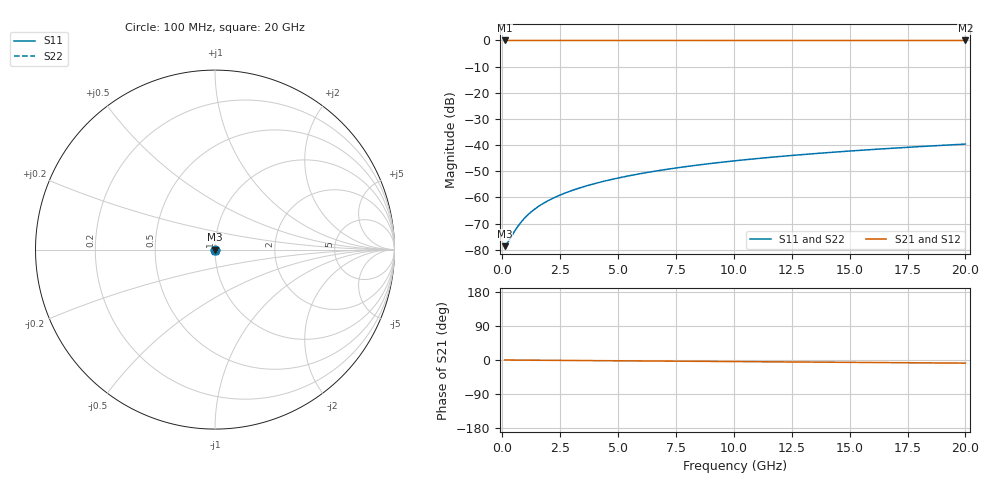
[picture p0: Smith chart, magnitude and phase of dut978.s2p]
! Touchstone file exported from HFSS 2026.1.0
!  File:  C:/ffzhzh/LocalFiles/Ansys_Project_Files/temp_train_TSV_978_1783187917_51560.aedt
!  Generated:  01:59:55 AM Jul  5, 2026
!  Design:  TSV
!  Project:  temp_train_TSV_978_1783187917_51560
! Variables:
!  h_bsmrdl = 2um
!  h_ox = 20um
!  h_rdl = 5um
!  h_sub = 84.13um
!  h_tmrdl = 5um
!  h_tsv = 84.13um
!  h_via = 3um
!  l_bsmrdl = 300um
!  l_sub = 421.94um
!  l_tmrdl = 200um
!  m_sub = 200um
!  pitch = 41.14um
!  r_tsv = 10.97um
!  s_tmrdl = 10um
!  w_bsmrdl = 18um
!  w_sub = 500um
!  w_tmrdl = 12um
!  x_tsv_center1 = 206um
!  x_tsv_center2 = 524um
!  x_tsv_center3 = 736um
!  x_tsv_center4 = 1054um
!  x_tsv_center5 = 1266um
!  x_tsv_center6 = 1584um
# GHz S MA R 50.000000
! Terminal data exported
! Port[1] = TSV1_1_T1
! Port[2] = TSV1_1_T2
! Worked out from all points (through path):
!   200 points, 100 MHz to 20 GHz, reference 50 ohm
!   highest |S21| = 0.00 dB at 100 MHz (marker M1); lowest = 0.0 dB at 20 GHz (marker M2)
!   group delay of S21, straight-line fit = 1.14 ps
!   lowest |S11| = -78.6 dB at 100 MHz (marker M3), VSWR 1.00, Z = 50 - j0.00065 ohm
!   |S11| at or under -10 dB: start of sweep to end of sweep
!   |S22| runs from -78.6 to -39.6 dB; largest |S21 - S12| = 3.2e-15
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0.1  0.0001172 -3.2  0.9999 -0.0  0.9999 -0.0  0.0001172 -3.2
! Gamma 0 0 0 0
! Port Impedance 50 0 50 0
0.2  0.0001312 -7.1  0.9999 -0.1  0.9999 -0.1  0.0001312 -7.1
0.6  0.0002515 -27.4  0.9998 -0.3  0.9998 -0.3  0.0002515 -27.4
0.8  0.0003325 -36.2  0.9997 -0.3  0.9997 -0.3  0.0003325 -36.2
0.9  0.0003753 -39.9  0.9997 -0.4  0.9997 -0.4  0.0003753 -39.9
1.1  0.0004635 -46.2  0.9997 -0.5  0.9997 -0.5  0.0004635 -46.2
1.4  0.0005995 -53.2  0.9996 -0.6  0.9996 -0.6  0.0005995 -53.2
1.6  0.0006914 -56.8  0.9996 -0.7  0.9996 -0.7  0.0006914 -56.8
1.8  0.0007841 -59.7  0.9996 -0.8  0.9996 -0.8  0.0007841 -59.7
2.3  0.001019 -64.9  0.9996 -1.0  0.9996 -1.0  0.001019 -64.9
2.9  0.001305 -69.0  0.9995 -1.2  0.9995 -1.2  0.001305 -69.0
3.5  0.001597 -71.8  0.9995 -1.5  0.9995 -1.5  0.001597 -71.8
4.2  0.001945 -74.2  0.9994 -1.8  0.9994 -1.8  0.001945 -74.2
5  0.00235 -76.2  0.9994 -2.1  0.9994 -2.1  0.00235 -76.2
5.9  0.002815 -78.1  0.9993 -2.5  0.9993 -2.5  0.002815 -78.1
6.8  0.003286 -79.6  0.9992 -2.8  0.9992 -2.8  0.003286 -79.6
8.3  0.004082 -81.6  0.9992 -3.4  0.9992 -3.4  0.004082 -81.6
10.1  0.005047 -83.7  0.9991 -4.2  0.9991 -4.2  0.005047 -83.7
11.7  0.00591 -85.2  0.999 -4.8  0.999 -4.8  0.00591 -85.2
13.4  0.006833 -86.7  0.9989 -5.5  0.9989 -5.5  0.006832 -86.7
16.7  0.008637 -89.1  0.9988 -6.9  0.9988 -6.9  0.008637 -89.1
20  0.01047 -91.1  0.9986 -8.3  0.9986 -8.3  0.01047 -91.1
